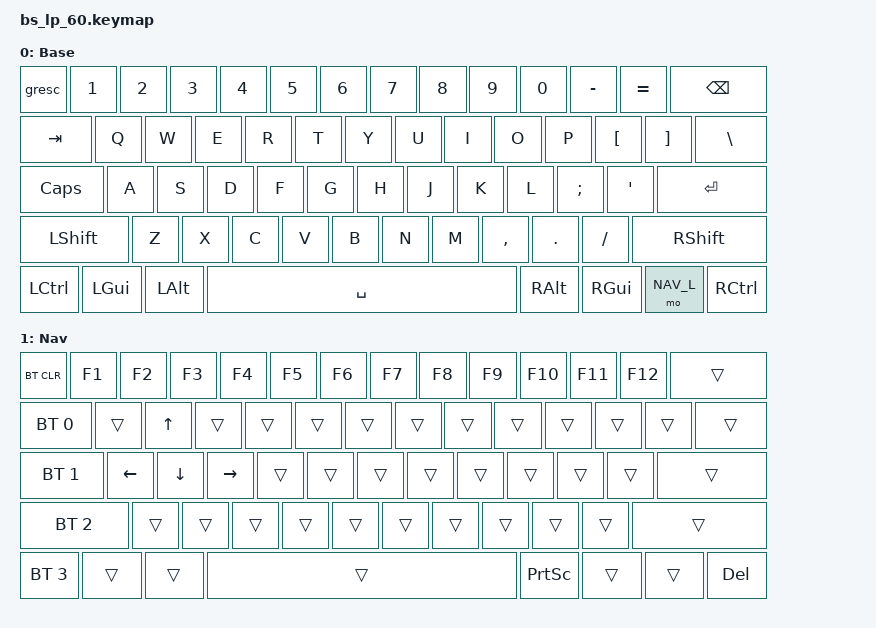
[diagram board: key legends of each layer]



/*
 * Copyright (c) 2021 Cole Smith
 *
 * SPDX-License-Identifier: MIT
 */

#include <behaviors.dtsi>
#include <dt-bindings/zmk/keys.h>
#include <dt-bindings/zmk/bt.h>
#include <dt-bindings/zmk/outputs.h>
#include <dt-bindings/zmk/reset.h>
#include <dt-bindings/zmk/ext_power.h>

#define BAS_L 0
#define NAV_L 1

/ {
	// Double Tap: single tap sends the first key, double tap the second.
	// Both keys are chosen per key in Keyform (Advanced -> Double Tap), no reflashing needed.
	// tapping-term-ms is how long it waits for a second tap (Normal 200, Fast 150, Relaxed 250, plus every 5 ms from 150 to 300).
	behaviors {
		// Game Mod-Tap: mod-tap that holds the tap key long enough for games to see it.
		// All its settings are stored per key and set in Keyform (Advanced -> Game Mod-Tap).
		gmt: game_mod_tap {
			compatible = "zmk,behavior-game-mod-tap";
			display-name = "Game Mod-Tap";
			#binding-cells = <2>;
		};
		dbl: double_tap {
			compatible = "zmk,behavior-double-tap";
			display-name = "Double Tap";
			#binding-cells = <2>;
			tapping-term-ms = <200>;
		};
		// Same, with a shorter / longer wait. Keyform shows these as the Speed choice of Double Tap.
		dbl_fast: double_tap_fast {
			compatible = "zmk,behavior-double-tap";
			display-name = "Double Tap (Fast)";
			#binding-cells = <2>;
			tapping-term-ms = <150>;
		};
		dbl_relaxed: double_tap_relaxed {
			compatible = "zmk,behavior-double-tap";
			display-name = "Double Tap (Relaxed)";
			#binding-cells = <2>;
			tapping-term-ms = <250>;
		};
		// Extra speeds for the Keyform slider, 150-300 ms in steps of 5 (150, 200 and 250 are the three above).
		// Keep the node names: saved keys refer to them by name.
		double_tap_155 { compatible = "zmk,behavior-double-tap"; display-name = "Double Tap (155 ms)"; #binding-cells = <2>; tapping-term-ms = <155>; };
		double_tap_160 { compatible = "zmk,behavior-double-tap"; display-name = "Double Tap (160 ms)"; #binding-cells = <2>; tapping-term-ms = <160>; };
		double_tap_165 { compatible = "zmk,behavior-double-tap"; display-name = "Double Tap (165 ms)"; #binding-cells = <2>; tapping-term-ms = <165>; };
		double_tap_170 { compatible = "zmk,behavior-double-tap"; display-name = "Double Tap (170 ms)"; #binding-cells = <2>; tapping-term-ms = <170>; };
		double_tap_175 { compatible = "zmk,behavior-double-tap"; display-name = "Double Tap (175 ms)"; #binding-cells = <2>; tapping-term-ms = <175>; };
		double_tap_180 { compatible = "zmk,behavior-double-tap"; display-name = "Double Tap (180 ms)"; #binding-cells = <2>; tapping-term-ms = <180>; };
		double_tap_185 { compatible = "zmk,behavior-double-tap"; display-name = "Double Tap (185 ms)"; #binding-cells = <2>; tapping-term-ms = <185>; };
		double_tap_190 { compatible = "zmk,behavior-double-tap"; display-name = "Double Tap (190 ms)"; #binding-cells = <2>; tapping-term-ms = <190>; };
		double_tap_195 { compatible = "zmk,behavior-double-tap"; display-name = "Double Tap (195 ms)"; #binding-cells = <2>; tapping-term-ms = <195>; };
		double_tap_205 { compatible = "zmk,behavior-double-tap"; display-name = "Double Tap (205 ms)"; #binding-cells = <2>; tapping-term-ms = <205>; };
		double_tap_210 { compatible = "zmk,behavior-double-tap"; display-name = "Double Tap (210 ms)"; #binding-cells = <2>; tapping-term-ms = <210>; };
		double_tap_215 { compatible = "zmk,behavior-double-tap"; display-name = "Double Tap (215 ms)"; #binding-cells = <2>; tapping-term-ms = <215>; };
		double_tap_220 { compatible = "zmk,behavior-double-tap"; display-name = "Double Tap (220 ms)"; #binding-cells = <2>; tapping-term-ms = <220>; };
		double_tap_225 { compatible = "zmk,behavior-double-tap"; display-name = "Double Tap (225 ms)"; #binding-cells = <2>; tapping-term-ms = <225>; };
		double_tap_230 { compatible = "zmk,behavior-double-tap"; display-name = "Double Tap (230 ms)"; #binding-cells = <2>; tapping-term-ms = <230>; };
		double_tap_235 { compatible = "zmk,behavior-double-tap"; display-name = "Double Tap (235 ms)"; #binding-cells = <2>; tapping-term-ms = <235>; };
		double_tap_240 { compatible = "zmk,behavior-double-tap"; display-name = "Double Tap (240 ms)"; #binding-cells = <2>; tapping-term-ms = <240>; };
		double_tap_245 { compatible = "zmk,behavior-double-tap"; display-name = "Double Tap (245 ms)"; #binding-cells = <2>; tapping-term-ms = <245>; };
		double_tap_255 { compatible = "zmk,behavior-double-tap"; display-name = "Double Tap (255 ms)"; #binding-cells = <2>; tapping-term-ms = <255>; };
		double_tap_260 { compatible = "zmk,behavior-double-tap"; display-name = "Double Tap (260 ms)"; #binding-cells = <2>; tapping-term-ms = <260>; };
		double_tap_265 { compatible = "zmk,behavior-double-tap"; display-name = "Double Tap (265 ms)"; #binding-cells = <2>; tapping-term-ms = <265>; };
		double_tap_270 { compatible = "zmk,behavior-double-tap"; display-name = "Double Tap (270 ms)"; #binding-cells = <2>; tapping-term-ms = <270>; };
		double_tap_275 { compatible = "zmk,behavior-double-tap"; display-name = "Double Tap (275 ms)"; #binding-cells = <2>; tapping-term-ms = <275>; };
		double_tap_280 { compatible = "zmk,behavior-double-tap"; display-name = "Double Tap (280 ms)"; #binding-cells = <2>; tapping-term-ms = <280>; };
		double_tap_285 { compatible = "zmk,behavior-double-tap"; display-name = "Double Tap (285 ms)"; #binding-cells = <2>; tapping-term-ms = <285>; };
		double_tap_290 { compatible = "zmk,behavior-double-tap"; display-name = "Double Tap (290 ms)"; #binding-cells = <2>; tapping-term-ms = <290>; };
		double_tap_295 { compatible = "zmk,behavior-double-tap"; display-name = "Double Tap (295 ms)"; #binding-cells = <2>; tapping-term-ms = <295>; };
		double_tap_300 { compatible = "zmk,behavior-double-tap"; display-name = "Double Tap (300 ms)"; #binding-cells = <2>; tapping-term-ms = <300>; };
	};

	keymap {
		compatible = "zmk,keymap";
		
		default_layer {
// ------------------------------------------------------------------------------------------
// | ESC |  1  |  2  |  3  |  4  |  5  |  6  |  7  |  8  |  9  |  0  |  -  |  =  |   BKSP   |
// | TAB  |  Q  |  W  |  E  |  R  |  T  |  Y  |  U  |  I  |  O  |  P  |  [  |  ]  |   "|"   |
// | CAPS  |  A  |  S  |  D  |  F  |  G  |  H  |  J  |  K  |  L  |  ;  |  '  |     ENTER    |
// |  SHIFT  |  Z  |  X  |  C  |  V  |  B  |  N  |  M  |  ,  |  .  |  /  |      SHIFT       |
// |  CTL  |  WIN  |  ALT  |            SPACE              |  ALT  |  WIN  |  MO(1) |  CTL  |
// ------------------------------------------------------------------------------------------
            label = "Base";

			bindings = <
	&gresc  &kp N1 &kp N2 &kp N3 &kp N4 &kp N5 &kp N6 &kp N7 &kp N8 &kp N9 &kp N0 &kp MINUS &kp EQUAL  &kp BSPC
	&kp TAB  &kp Q  &kp W  &kp E  &kp R  &kp T  &kp Y  &kp U  &kp I  &kp O  &kp P  &kp LBKT  &kp RBKT  &kp BSLH
	&kp CLCK  &kp A  &kp S  &kp D  &kp F  &kp G  &kp H  &kp J  &kp K  &kp L  &kp SEMI &kp SQT           &kp RET
	&kp LSHFT   &kp Z  &kp X  &kp C  &kp V  &kp B  &kp N  &kp M  &kp COMMA &kp DOT &kp FSLH           &kp RSHFT
	&kp LCTRL &kp LGUI &kp LALT             &kp SPACE                     &kp RALT  &kp RGUI  &mo NAV_L   &kp RCTRL
			>;
		};

		ble_layer {
// ------------------------------------------------------------------------------------------------
// | BT CLR | F1  | F2  | F3  | F4  | F5  | F6  | F7  | F8  | F9  | F10  | F11 | F12 |            |
// |  BT 1   |   |  UP |   |       |       |       |       |   |     |    |     |     |           |
// |   BT 2   | LT |  DN  | RT |       |       |       |       |   |     |   |     |              |
// |    BT 3     |     |      |      |     |     |     |     |     |     |     |                  |
// |   BT 4  |      |      |                                    | PRT SCR |       |       |  DEL  |
// ------------------------------------------------------------------------------------------------
            label = "Nav";

			bindings = <
	&bt BT_CLR   &kp F1    &kp F2    &kp F3  &kp F4           &kp F5          &kp F6          &kp F7          &kp F8   &kp F9   &kp F10  &kp F11 &kp F12  &trans
	&bt BT_SEL 0  &trans    &kp UP    &trans  &trans  &trans &trans &trans  &trans   &trans   &trans   &trans  &trans          &trans 
	&bt BT_SEL 1   &kp LEFT  &kp DOWN  &kp RIGHT &trans &trans &trans &trans &trans   &trans   &trans   &trans        &trans
	&bt BT_SEL 2    &trans    &trans    &trans   &trans          &trans          &trans          &trans          &trans   &trans   &trans               &trans
	&bt BT_SEL 3  &trans   &trans                            &trans                                     &kp PSCRN      &trans      &trans               &kp DEL
			>;
		};
			extra_layer_1 {
			status = "reserved";
			bindings = <&trans &trans &trans &trans &trans &trans &trans &trans &trans &trans &trans &trans &trans &trans &trans &trans &trans &trans &trans &trans &trans &trans &trans &trans &trans &trans &trans &trans &trans &trans &trans &trans &trans &trans &trans &trans &trans &trans &trans &trans &trans &trans &trans &trans &trans &trans &trans &trans &trans &trans &trans &trans &trans &trans &trans &trans &trans &trans &trans &trans &trans>;
		};

		extra_layer_2 {
			status = "reserved";
			bindings = <&trans &trans &trans &trans &trans &trans &trans &trans &trans &trans &trans &trans &trans &trans &trans &trans &trans &trans &trans &trans &trans &trans &trans &trans &trans &trans &trans &trans &trans &trans &trans &trans &trans &trans &trans &trans &trans &trans &trans &trans &trans &trans &trans &trans &trans &trans &trans &trans &trans &trans &trans &trans &trans &trans &trans &trans &trans &trans &trans &trans &trans>;
		};

		extra_layer_3 {
			status = "reserved";
			bindings = <&trans &trans &trans &trans &trans &trans &trans &trans &trans &trans &trans &trans &trans &trans &trans &trans &trans &trans &trans &trans &trans &trans &trans &trans &trans &trans &trans &trans &trans &trans &trans &trans &trans &trans &trans &trans &trans &trans &trans &trans &trans &trans &trans &trans &trans &trans &trans &trans &trans &trans &trans &trans &trans &trans &trans &trans &trans &trans &trans &trans &trans>;
		};

		extra_layer_4 {
			status = "reserved";
			bindings = <&trans &trans &trans &trans &trans &trans &trans &trans &trans &trans &trans &trans &trans &trans &trans &trans &trans &trans &trans &trans &trans &trans &trans &trans &trans &trans &trans &trans &trans &trans &trans &trans &trans &trans &trans &trans &trans &trans &trans &trans &trans &trans &trans &trans &trans &trans &trans &trans &trans &trans &trans &trans &trans &trans &trans &trans &trans &trans &trans &trans &trans>;
		};

		extra_layer_5 {
			status = "reserved";
			bindings = <&trans &trans &trans &trans &trans &trans &trans &trans &trans &trans &trans &trans &trans &trans &trans &trans &trans &trans &trans &trans &trans &trans &trans &trans &trans &trans &trans &trans &trans &trans &trans &trans &trans &trans &trans &trans &trans &trans &trans &trans &trans &trans &trans &trans &trans &trans &trans &trans &trans &trans &trans &trans &trans &trans &trans &trans &trans &trans &trans &trans &trans>;
		};

		extra_layer_6 {
			status = "reserved";
			bindings = <&trans &trans &trans &trans &trans &trans &trans &trans &trans &trans &trans &trans &trans &trans &trans &trans &trans &trans &trans &trans &trans &trans &trans &trans &trans &trans &trans &trans &trans &trans &trans &trans &trans &trans &trans &trans &trans &trans &trans &trans &trans &trans &trans &trans &trans &trans &trans &trans &trans &trans &trans &trans &trans &trans &trans &trans &trans &trans &trans &trans &trans>;
		};
	};
};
